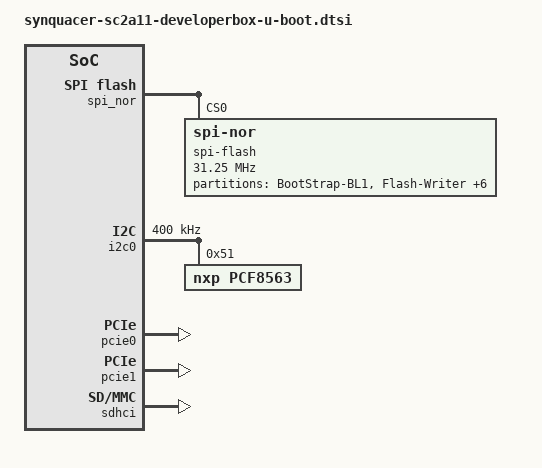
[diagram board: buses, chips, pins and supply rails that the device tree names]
// SPDX-License-Identifier: BSD-2-Clause-Patent
//
// Copyright (c) 2021, Linaro Limited. All rights reserved.
//

/ {
	aliases {
		spi_nor = &spi_nor;
		i2c0 = &i2c0;
	};

	spi_nor: spi@54800000 {
		compatible = "socionext,synquacer-spi";
		reg = <0x00 0x54800000 0x00 0x1000>;
		interrupts = <0x00 0x9c 0x04 0x00 0x9d 0x04 0x00 0x9e 0x04>;
		clocks = <&clk_alw_1_8>;
		clock-names = "iHCLK";
		socionext,use-rtm;
		socionext,set-aces;
		#address-cells = <1>;
		#size-cells = <0>;
		status = "okay";
		active_clk_edges;
		chipselect_num = <1>;

		spi-flash@0 {
			#address-cells = <1>;
			#size-cells = <1>;
			compatible = "jedec,spi-nor";
			reg = <0>; /* Chip select 0 */
			spi-max-frequency = <31250000>;
			spi-rx-bus-width = <0x1>;
			spi-tx-bus-width = <0x1>;

			partitions {
				compatible = "fixed-partitions";
				#address-cells = <1>;
				#size-cells = <1>;

				partition@0 {
					label = "BootStrap-BL1";
					reg = <0x0 0x70000>;
					read-only;
				};

				partition@70000 {
					label = "Flash-Writer";
					reg = <0x70000 0x90000>;
					read-only;
				};

				partition@100000 {
					label = "SCP-BL2";
					reg = <0x100000 0x80000>;
					read-only;
				};

				partition@180000 {
					label = "FIP-TFA";
					reg = <0x180000 0x78000>;
				};

				partition@1f8000 {
					label = "Stage2Tables";
					reg = <0x1f8000 0x8000>;
				};

				partition@200000 {
					label = "U-Boot";
					reg = <0x200000 0x100000>;
				};

				partition@300000 {
					label = "UBoot-Env";
					reg = <0x300000 0x100000>;
				};

				partition@500000 {
					label = "Ex-OPTEE";
					reg = <0x500000 0x200000>;
				};
			};
		};
	};

	i2c0: i2c@51200000 {
		compatible = "socionext,synquacer-i2c";
		reg = <0x0 0x51200000 0x0 0x1000>;
		interrupts = <GIC_SPI 164 IRQ_TYPE_LEVEL_HIGH>;
		clocks = <&clk_i2c>;
		clock-names = "pclk";
		clock-frequency = <400000>;
		#address-cells = <1>;
		#size-cells = <0>;
		status = "okay";

		pcf8563: rtc@51 {
			compatible = "nxp,pcf8563";
			reg = <0x51>;
		};
	};

	firmware {
		optee {
			status = "okay";
		};
	};
};

&smmu {
	status = "okay";
};

&pcie0 {
	status = "okay";
};

&pcie1 {
	status = "okay";
};

&sdhci {
	status = "okay";
};
